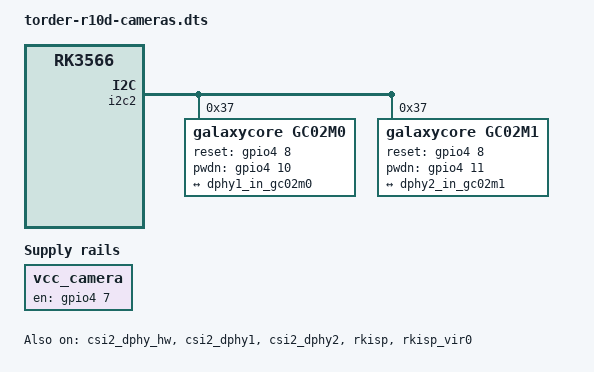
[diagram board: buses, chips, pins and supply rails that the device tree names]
// SPDX-License-Identifier: (GPL-2.0+ OR MIT)
/dts-v1/;
/plugin/;

/ {
	compatible = "torder,tablet", "rockchip,rk3566";
};

&{/} {
	vcc_camera: regulator-vcc-camera {
		compatible = "regulator-fixed";
		regulator-name = "vcc_camera";
		regulator-always-on;
		regulator-boot-on;
		enable-active-high;
		gpio = <&gpio4 7 0>;
		pinctrl-names = "default";
		pinctrl-0 = <&camera_power_en>;
	};
};

&pinctrl {
	camera {
		camera_power_en: camera-power-en {
			rockchip,pins = <4 7 0 &pcfg_pull_none>;
		};
	};
};

&csi2_dphy_hw {
	status = "okay";
};

&csi2_dphy1 {
	status = "okay";
	ports {
		#address-cells = <1>;
		#size-cells = <0>;
		port@0 {
			reg = <0>;
			dphy1_in_gc02m0: endpoint {
				remote-endpoint = <&gc02m0_out>;
				data-lanes = <1>;
			};
		};
		port@1 {
			reg = <1>;
			dphy1_out_isp: endpoint {
				remote-endpoint = <&isp_in_gc02m0>;
			};
		};
	};
};

&csi2_dphy2 {
	status = "okay";
	ports {
		#address-cells = <1>;
		#size-cells = <0>;
		port@0 {
			reg = <0>;
			dphy2_in_gc02m1: endpoint {
				remote-endpoint = <&gc02m1_out>;
				data-lanes = <1>;
			};
		};
		port@1 {
			reg = <1>;
			dphy2_out_isp: endpoint {
				remote-endpoint = <&isp_in_gc02m1>;
			};
		};
	};
};

&i2c2 {
	#address-cells = <1>;
	#size-cells = <0>;
	status = "okay";
	pinctrl-names = "default";
	/* Both sensors share this clock output. */
	pinctrl-0 = <&i2c2m1_xfer &cif_clk>;

	gc02m0: camera-rear@37 {
		compatible = "galaxycore,gc02m0";
		reg = <0x37>;
		clocks = <&cru 214>; /* CLK_CIF_OUT */
		clock-names = "xvclk";
		power-domains = <&power 8>; /* RK3568_PD_VI */
		reset-gpios = <&gpio4 8 0>;
		pwdn-gpios = <&gpio4 10 0>;
		rockchip,camera-module-index = <0>;
		rockchip,camera-module-facing = "back";
		rockchip,camera-module-name = "KYT-4877-V01";
		rockchip,camera-module-lens-name = "default";
		port {
			gc02m0_out: endpoint {
				remote-endpoint = <&dphy1_in_gc02m0>;
				data-lanes = <1>;
			};
		};
	};

	/* The two sensors share the address and have independent power-down lines. */
	gc02m1: camera-front@37 {
		compatible = "galaxycore,gc02m1";
		reg = <0x37>;
		clocks = <&cru 214>; /* CLK_CIF_OUT */
		clock-names = "xvclk";
		power-domains = <&power 8>; /* RK3568_PD_VI */
		reset-gpios = <&gpio4 8 0>;
		pwdn-gpios = <&gpio4 11 0>;
		rockchip,camera-module-index = <1>;
		rockchip,camera-module-facing = "front";
		rockchip,camera-module-name = "KYT-4877-V01";
		rockchip,camera-module-lens-name = "default";
		port {
			gc02m1_out: endpoint {
				remote-endpoint = <&dphy2_in_gc02m1>;
				data-lanes = <1>;
			};
		};
	};
};

&rkisp {
	status = "okay";
};

&rkisp_mmu {
	status = "okay";
};

&rkisp_vir0 {
	status = "okay";
	port {
		#address-cells = <1>;
		#size-cells = <0>;
		isp_in_gc02m0: endpoint@0 {
			reg = <0>;
			remote-endpoint = <&dphy1_out_isp>;
		};
		isp_in_gc02m1: endpoint@1 {
			reg = <1>;
			remote-endpoint = <&dphy2_out_isp>;
		};
	};
};
